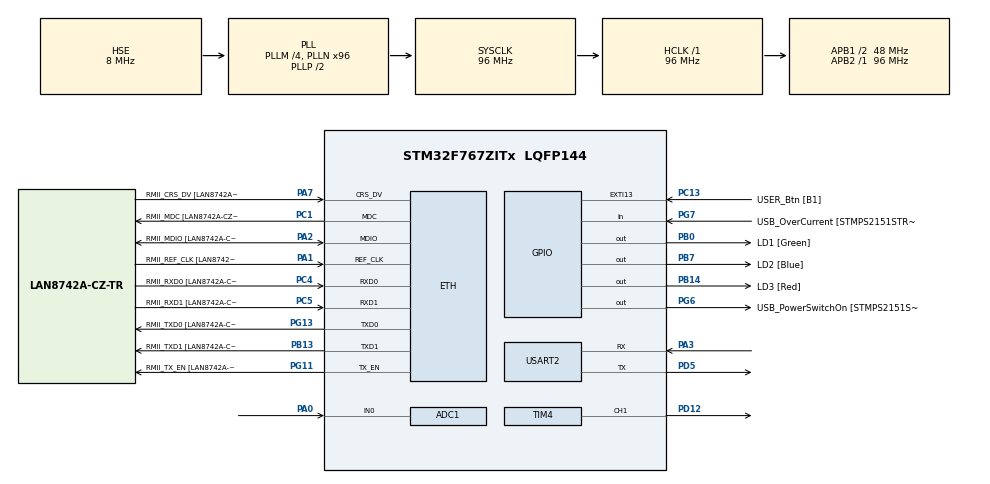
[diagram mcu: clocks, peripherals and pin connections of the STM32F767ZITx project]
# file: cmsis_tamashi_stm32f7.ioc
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ADC1.Channel-1\#ChannelRegularConversion=ADC_CHANNEL_0
ADC1.ClockPrescaler=ADC_CLOCK_SYNC_PCLK_DIV6
ADC1.DMAContinuousRequests=ENABLE
ADC1.DataAlign=ADC_DATAALIGN_LEFT
ADC1.ExternalTrigConv=ADC_EXTERNALTRIGCONV_T5_TRGO
ADC1.NbrOfConversionFlag=1
ADC1.Rank-1\#ChannelRegularConversion=1
ADC1.SamplingTime-1\#ChannelRegularConversion=ADC_SAMPLETIME_3CYCLES
ADC1.master=1
Dma.ADC1.0.Direction=DMA_PERIPH_TO_MEMORY
Dma.ADC1.0.FIFOMode=DMA_FIFOMODE_DISABLE
Dma.ADC1.0.Instance=DMA2_Stream0
Dma.ADC1.0.MemDataAlignment=DMA_MDATAALIGN_HALFWORD
Dma.ADC1.0.MemInc=DMA_MINC_ENABLE
Dma.ADC1.0.Mode=DMA_CIRCULAR
Dma.ADC1.0.PeriphDataAlignment=DMA_PDATAALIGN_HALFWORD
Dma.ADC1.0.PeriphInc=DMA_PINC_DISABLE
Dma.ADC1.0.Priority=DMA_PRIORITY_LOW
Dma.Request0=ADC1
ETH.MediaInterface=ETH_MEDIA_INTERFACE_RMII
ETH.PHY_Name=LAN8742A_PHY_ADDRESS
ETH.PHY_Value=0
ETH.PhyAddress=0
Mcu.Family=STM32F7
Mcu.Name=STM32F767ZITx
Mcu.Package=LQFP144
NVIC.DMA2_Stream0_IRQn=true\:0\:0\:false\:false\:true\:false\:true
NVIC.PriorityGroup=NVIC_PRIORITYGROUP_4
PA0/WKUP.Signal=ADCx_IN0
PA1.GPIO_Label=RMII_REF_CLK [LAN8742A-CZ-TR_REFCLK0]
PA1.Mode=RMII
PA1.Signal=ETH_REF_CLK
PA10.GPIO_Label=USB_ID
PA10.Signal=USB_OTG_FS_ID
PA11.GPIO_Label=USB_DM
PA11.Signal=USB_OTG_FS_DM
PA12.GPIO_Label=USB_DP
PA12.Signal=USB_OTG_FS_DP
PA13.GPIO_Label=TMS
PA13.Mode=Serial_Wire
PA13.Signal=SYS_JTMS-SWDIO
PA14.GPIO_Label=TCK
PA14.Mode=Serial_Wire
PA14.Signal=SYS_JTCK-SWCLK
PA2.GPIO_Label=RMII_MDIO [LAN8742A-CZ-TR_MDIO]
PA2.Mode=RMII
PA2.Signal=ETH_MDIO
PA3.Mode=Asynchronous
PA3.Signal=USART2_RX
PA7.GPIO_Label=RMII_CRS_DV [LAN8742A-CZ-TR_CRS_DV]
PA7.Mode=RMII
PA7.Signal=ETH_CRS_DV
PA8.GPIO_Label=USB_SOF [TP1]
PA8.Signal=USB_OTG_FS_SOF
PA9.GPIO_Label=USB_VBUS
PA9.Signal=USB_OTG_FS_VBUS
PB0.GPIO_Label=LD1 [Green]
PB0.Signal=GPIO_Output
PB13.GPIO_Label=RMII_TXD1 [LAN8742A-CZ-TR_TXD1]
PB13.Mode=RMII
PB13.Signal=ETH_TXD1
PB14.GPIO_Label=LD3 [Red]
PB14.Signal=GPIO_Output
PB3.GPIO_Label=SWO
PB3.Signal=SYS_JTDO-SWO
PB7.GPIO_Label=LD2 [Blue]
PB7.Signal=GPIO_Output
PC1.GPIO_Label=RMII_MDC [LAN8742A-CZ-TR_MDC]
PC1.Mode=RMII
PC1.Signal=ETH_MDC
PC13.GPIO_Label=USER_Btn [B1]
PC13.Signal=GPXTI13
PC14/OSC32_IN.Mode=LSE-External-Oscillator
PC14/OSC32_IN.Signal=RCC_OSC32_IN
PC15/OSC32_OUT.Mode=LSE-External-Oscillator
PC15/OSC32_OUT.Signal=RCC_OSC32_OUT
PC4.GPIO_Label=RMII_RXD0 [LAN8742A-CZ-TR_RXD0]
PC4.Mode=RMII
PC4.Signal=ETH_RXD0
PC5.GPIO_Label=RMII_RXD1 [LAN8742A-CZ-TR_RXD1]
PC5.Mode=RMII
PC5.Signal=ETH_RXD1
PD12.Signal=S_TIM4_CH1
PD5.Mode=Asynchronous
PD5.Signal=USART2_TX
PD8.GPIO_Label=STLK_RX [STM32F103CBT6_PA3]
PD8.Signal=USART3_TX
PD9.GPIO_Label=STLK_TX [STM32F103CBT6_PA2]
PD9.Signal=USART3_RX
PG11.GPIO_Label=RMII_TX_EN [LAN8742A-CZ-TR_TXEN]
PG11.Mode=RMII
PG11.Signal=ETH_TX_EN
PG13.GPIO_Label=RMII_TXD0 [LAN8742A-CZ-TR_TXD0]
PG13.Mode=RMII
PG13.Signal=ETH_TXD0
PG6.GPIO_Label=USB_PowerSwitchOn [STMPS2151STR_EN]
PG6.Signal=GPIO_Output
PG7.GPIO_Label=USB_OverCurrent [STMPS2151STR_FAULT]
PG7.Signal=GPIO_Input
PH0/OSC_IN.GPIO_Label=MCO [STM32F103CBT6_PA8]
PH0/OSC_IN.Mode=HSE-External-Clock-Source
PH0/OSC_IN.Signal=RCC_OSC_IN
PH1/OSC_OUT.Mode=HSE-External-Clock-Source
PH1/OSC_OUT.Signal=RCC_OSC_OUT
ProjectManager.HeapSize=0x3000
ProjectManager.StackSize=0x6000
ProjectManager.TargetToolchain=MDK-ARM V5.27
RCC.48MHZClocksFreq_Value=24000000
RCC.AHBFreq_Value=96000000
RCC.APB1CLKDivider=RCC_HCLK_DIV2
RCC.APB1Freq_Value=48000000
RCC.APB1TimFreq_Value=96000000
RCC.APB2Freq_Value=96000000
RCC.APB2TimFreq_Value=96000000
RCC.CortexFreq_Value=96000000
RCC.HCLKFreq_Value=96000000
RCC.HSE_VALUE=8000000
RCC.HSI_VALUE=16000000
RCC.PLLM=4
RCC.PLLMUL=RCC_PLL_MUL9
RCC.PLLN=96
RCC.PLLQ=4
RCC.PLLSourceVirtual=RCC_PLLSOURCE_HSE
RCC.PRESCALERUSB=RCC_USBCLKSOURCE_PLL_DIV1_5
RCC.SYSCLKFreq_VALUE=96000000
RCC.SYSCLKSource=RCC_SYSCLKSOURCE_PLLCLK
RCC.SYSCLKSourceVirtual=RCC_SYSCLKSOURCE_PLLCLK
RCC.USBFreq_Value=48000000
RCC.VCOOutputFreq_Value=192000000
SH.ADCx_IN0.0=ADC1_IN0,IN0
SH.S_TIM4_CH1.0=TIM4_CH1,PWM Generation1 CH1
TIM4.Channel-PWM\ Generation1\ CH1=TIM_CHANNEL_1
TIM4.Period=50-1
TIM4.Prescaler=960-1
TIM4.Pulse-PWM\ Generation1\ CH1=25
TIM5.Period=99
TIM5.Prescaler=239
TIM5.TIM_MasterOutputTrigger=TIM_TRGO_UPDATE
TIM5.TIM_MasterSlaveMode=TIM_MASTERSLAVEMODE_ENABLE
USART2.VirtualMode-Asynchronous=VM_ASYNC
VP_TIM4_VS_ClockSourceINT.Mode=Internal
VP_TIM5_VS_ClockSourceINT.Mode=Internal
board=NUCLEO-F767ZI

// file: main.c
/* USER CODE BEGIN Header */
/**
  ******************************************************************************
  * @file           : main.c
  * @brief          : Main program body
  ******************************************************************************
  * @attention
  *
  * <h2><center>&copy; Copyright (c) 2020 STMicroelectronics.
  * All rights reserved.</center></h2>
  *
  * This software component is licensed by ST under BSD 3-Clause license,
  * the "License"; You may not use this file except in compliance with the
  * License. You may obtain a copy of the License at:
  *                        opensource.org/licenses/BSD-3-Clause
  *
  ******************************************************************************
  */

/* USER CODE END Header */

#include "main.h"

/* USER CODE BEGIN Includes */
#include "arm_math.h"
#include "math.h"
#include "utils.h"
#define BUFFSIZE 512
/* USER CODE END Includes */

ADC_HandleTypeDef hadc1;
DMA_HandleTypeDef hdma_adc1;

ETH_HandleTypeDef heth;

TIM_HandleTypeDef htim4;
TIM_HandleTypeDef htim5;

UART_HandleTypeDef huart2;

/* USER CODE BEGIN PV */
uint16_t counter = 0;
arm_rfft_instance_q15 rfft_hanlder;
arm_rfft_fast_instance_f32 fast_32_hanlder;
uint8_t jeller = 123;
float32_t input_buffer[BUFFSIZE];
float32_t transformed_bufer[1025]; //not sure about the size yet tho
float32_t abs_vals[256];
float32_t sine_buffer[BUFFSIZE];
float32_t current_max_freq_amplitude = 0;
float32_t current_note_freq;
float32_t note_freq_hz = 0;
uint16_t max_value_bin = 0;
uint16_t adc_completed = 0x0000;
uint16_t DMA_received = 0;
uint16_t processing_in_progress = 0;
uint16_t processed = 0;
uint8_t note_freq_bin = 0;
uint8_t closest_frequency_index = 0; //this will be used to determine what note has been triggered;
uint8_t TASE = 0;
char note_name[2] = "A#";

double sampling_rate = 8000.0;
double two_pi = 6.28318530718;
double frequency = 50;
uint16_t ADC_BUFF[BUFFSIZE];

float32_t resolution = 4000.0/512; //sampling rate over buff nig size;

float32_t threshhold = 20000.0;
uint8_t current_value = 0;
uint8_t true_current_value = 0; //above threshold

/* USER CODE END PV */

void SystemClock_Config(void);
static void MX_GPIO_Init(void);
static void MX_DMA_Init(void);
static void MX_ADC1_Init(void);
static void MX_ETH_Init(void);
static void MX_TIM5_Init(void);
static void MX_TIM4_Init(void);
static void MX_USART2_UART_Init(void);

/* USER CODE BEGIN 0 */

void initialize_sine(void)
{

   int i = 0;
	 double constant_factor = 6.28318530718*frequency/sampling_rate;
   double constant_factor_two = 30*6.28318530718*frequency/sampling_rate; // 150 hz signal
	 for(i = 0; i < BUFFSIZE; i++)
   {
	     sine_buffer[i] = 1000.0*sin(constant_factor_two*i); //150hz signal
	 }

}

void copy_sine_to_input(void)
{

	int i = 0;
	for(i = 0; i < BUFFSIZE; i++)
	{
	   input_buffer[i] = (float32_t)(ADC_BUFF[i] >> 4); // ai aq vityvnebi
		 // erti aris USHORT meore SHORT HAHA GET FUCKED
		 // what ???
	}

}

uint16_t max_value_bin_find(float32_t * source, uint16_t size)
{

	  int i = 0;
	  float32_t max_float =0;
	  uint16_t max_bin = 0;
	  size = size - 1;
	  for(i=0; i < size; i++)
	  {
		   if(source[i] > max_float)
       {
				 max_float = source[i];
				 max_bin = i;
			 }
		}
   return max_bin;
}

void empty_out_buffer(float32_t * buffer, int16_t size)
{

	  int m = 0;
	  for(m=0; m < size; m++)
    {
		   buffer[m] = 0;
		}

}

uint8_t closest_frequency_index_find(float32_t frequency)
{

	uint8_t higher_val_index = 0;
	float32_t diff_lower = 0;
	float32_t diff_higher = 0;

	for(int i = 0; i < 36; i++)
  {
		if(frequency - note_frequencies[i] < 0)
    {
			higher_val_index = i;
			break;
		}

	}

	diff_lower = frequency - note_frequencies[higher_val_index - 1];
	diff_higher =  note_frequencies[higher_val_index] - frequency;  //hopefully sworad vfiqrob...

	if(diff_higher > diff_lower)
  {
		return higher_val_index - 1;
	}

	else if( diff_lower >= diff_higher)
  {
		return higher_val_index;
	}

}

int IsInScale(char * note)
{
  int i = 0;
  for(i = 0; i < 7; i++)
  {
     if(scale_notes[i][0] == note[0] && scale_notes[i][1] == note[1])
     {
       return 1;
     }

  }

  return 0;
}

/* USER CODE END 0 */

int main(void)
{

  /* MCU Configuration--------------------------------------------------------*/

  /* Reset of all peripherals, Initializes the Flash interface and the Systick. */
  HAL_Init();

  /* Configure the system clock */
  SystemClock_Config();

  /* Initialize all configured peripherals */
  MX_GPIO_Init();
  MX_DMA_Init();
  MX_ADC1_Init();
  MX_ETH_Init();
  MX_TIM5_Init();
  MX_TIM4_Init();
  MX_USART2_UART_Init();
  /* USER CODE BEGIN 2 */
	/*
	initialize_sine();
	HAL_Delay(100);
	copy_sine_to_input();
	HAL_Delay(100);
	empty_out_buffer(transformed_bufer, 512);
  */
	jeller = arm_rfft_fast_init_f32(&fast_32_hanlder, 512);
	HAL_ADC_Start_DMA(&hadc1, (uint32_t *) ADC_BUFF, BUFFSIZE);
  HAL_TIM_Base_Start(&htim5); // adc sampling clock
	//HAL_TIM_PWM_Start(&htim4, TIM_CHANNEL_1);
	//HAL_TIM_Base_Start(&htim4); //start corresponding TIMER

	jeller = 5;
	HAL_Delay(100);

  /* USER CODE END 2 */

  /* Infinite loop */
  while (1)
  {

    /* USER CODE BEGIN 3 */
    if(DMA_received == 1)
    {
			  //HAL_ADC_Stop_DMA(&hadc1); //wesit ese unda iyos magram RAVI ASWREBS TAVISUFLAD RAAAA BUSHIT
			  DMA_received = 0;

		    processing_in_progress = 1;
		    copy_sine_to_input();  //copies ADC_VAL to Input float32 buffer
        arm_rfft_fast_f32(&fast_32_hanlder, input_buffer, transformed_bufer, 0);

 	      arm_cmplx_mag_f32(transformed_bufer, abs_vals, 512);
			  for(counter = 0; counter < 2; counter++)
        {
				   abs_vals[counter] = 0; //getting rid of bias voltage
				}
	      current_value = max_value_bin_find(abs_vals, 256);
			  current_max_freq_amplitude = abs_vals[current_value];

			  if(current_max_freq_amplitude > (float32_t)14000.0)
        {
					note_freq_bin = current_value;
					note_freq_hz = note_freq_bin*resolution;
					closest_frequency_index = closest_frequency_index_find(note_freq_hz);
					note_name[0] = notes_array[closest_frequency_index][0]; ///
					note_name[1] = notes_array[closest_frequency_index][1]; ///

				}

				if(IsInScale(note_name) == 0)
        {
				    TASE = 1; //just to see value at debug
					  HAL_TIM_PWM_Start(&htim4, TIM_CHANNEL_1);
					  HAL_GPIO_WritePin(GPIOB, GPIO_PIN_0, 1);
					  HAL_Delay(300);
           	HAL_TIM_PWM_Stop(&htim4, TIM_CHANNEL_1);
					  HAL_GPIO_WritePin(GPIOB, GPIO_PIN_0, 0);
					  note_name[0] = 'A'; //any note from scale will do, it is to stop transformer
					  note_name[1] = '#';
					  TASE = 0;

				}

		}

  }
  /* USER CODE END 3 */
}

void SystemClock_Config(void)
{
  RCC_OscInitTypeDef RCC_OscInitStruct = {0};
  RCC_ClkInitTypeDef RCC_ClkInitStruct = {0};
  RCC_PeriphCLKInitTypeDef PeriphClkInitStruct = {0};

  /** Configure LSE Drive Capability
  */
  HAL_PWR_EnableBkUpAccess();
  /** Configure the main internal regulator output voltage
  */
  __HAL_RCC_PWR_CLK_ENABLE();
  __HAL_PWR_VOLTAGESCALING_CONFIG(PWR_REGULATOR_VOLTAGE_SCALE3);
  /** Initializes the CPU, AHB and APB busses clocks
  */
  RCC_OscInitStruct.OscillatorType = RCC_OSCILLATORTYPE_HSE;
  RCC_OscInitStruct.HSEState = RCC_HSE_BYPASS;
  RCC_OscInitStruct.PLL.PLLState = RCC_PLL_ON;
  RCC_OscInitStruct.PLL.PLLSource = RCC_PLLSOURCE_HSE;
  RCC_OscInitStruct.PLL.PLLM = 4;
  RCC_OscInitStruct.PLL.PLLN = 96;
  RCC_OscInitStruct.PLL.PLLP = RCC_PLLP_DIV2;
  RCC_OscInitStruct.PLL.PLLQ = 4;
  if (HAL_RCC_OscConfig(&RCC_OscInitStruct) != HAL_OK)
  {
    Error_Handler();
  }
  /** Activate the Over-Drive mode
  */
  if (HAL_PWREx_EnableOverDrive() != HAL_OK)
  {
    Error_Handler();
  }
  /** Initializes the CPU, AHB and APB busses clocks
  */
  RCC_ClkInitStruct.ClockType = RCC_CLOCKTYPE_HCLK|RCC_CLOCKTYPE_SYSCLK
                              |RCC_CLOCKTYPE_PCLK1|RCC_CLOCKTYPE_PCLK2;
  RCC_ClkInitStruct.SYSCLKSource = RCC_SYSCLKSOURCE_PLLCLK;
  RCC_ClkInitStruct.AHBCLKDivider = RCC_SYSCLK_DIV1;
  RCC_ClkInitStruct.APB1CLKDivider = RCC_HCLK_DIV2;
  RCC_ClkInitStruct.APB2CLKDivider = RCC_HCLK_DIV1;

  if (HAL_RCC_ClockConfig(&RCC_ClkInitStruct, FLASH_LATENCY_3) != HAL_OK)
  {
    Error_Handler();
  }
  PeriphClkInitStruct.PeriphClockSelection = RCC_PERIPHCLK_USART2;
  PeriphClkInitStruct.Usart2ClockSelection = RCC_USART2CLKSOURCE_PCLK1;
  if (HAL_RCCEx_PeriphCLKConfig(&PeriphClkInitStruct) != HAL_OK)
  {
    Error_Handler();
  }
}

static void MX_ADC1_Init(void)
{

  ADC_ChannelConfTypeDef sConfig = {0};

  /** Configure the global features of the ADC (Clock, Resolution, Data Alignment and number of conversion)
  */
  hadc1.Instance = ADC1;
  hadc1.Init.ClockPrescaler = ADC_CLOCK_SYNC_PCLK_DIV6;
  hadc1.Init.Resolution = ADC_RESOLUTION_12B;
  hadc1.Init.ScanConvMode = ADC_SCAN_DISABLE;
  hadc1.Init.ContinuousConvMode = DISABLE;
  hadc1.Init.DiscontinuousConvMode = DISABLE;
  hadc1.Init.ExternalTrigConvEdge = ADC_EXTERNALTRIGCONVEDGE_RISING;
  hadc1.Init.ExternalTrigConv = ADC_EXTERNALTRIGCONV_T5_TRGO;
  hadc1.Init.DataAlign = ADC_DATAALIGN_LEFT;
  hadc1.Init.NbrOfConversion = 1;
  hadc1.Init.DMAContinuousRequests = ENABLE;
  hadc1.Init.EOCSelection = ADC_EOC_SINGLE_CONV;
  if (HAL_ADC_Init(&hadc1) != HAL_OK)
  {
    Error_Handler();
  }
  /** Configure for the selected ADC regular channel its corresponding rank in the sequencer and its sample time.
  */
  sConfig.Channel = ADC_CHANNEL_0;
  sConfig.Rank = ADC_REGULAR_RANK_1;
  sConfig.SamplingTime = ADC_SAMPLETIME_3CYCLES;
  if (HAL_ADC_ConfigChannel(&hadc1, &sConfig) != HAL_OK)
  {
    Error_Handler();
  }

}

static void MX_ETH_Init(void)
{

  heth.Instance = ETH;
  heth.Init.AutoNegotiation = ETH_AUTONEGOTIATION_ENABLE;
  heth.Init.PhyAddress = LAN8742A_PHY_ADDRESS;
  heth.Init.MACAddr[0] =   0x00;
  heth.Init.MACAddr[1] =   0x80;
  heth.Init.MACAddr[2] =   0xE1;
  heth.Init.MACAddr[3] =   0x00;
  heth.Init.MACAddr[4] =   0x00;
  heth.Init.MACAddr[5] =   0x00;
  heth.Init.RxMode = ETH_RXPOLLING_MODE;
  heth.Init.ChecksumMode = ETH_CHECKSUM_BY_HARDWARE;
  heth.Init.MediaInterface = ETH_MEDIA_INTERFACE_RMII;

  if (HAL_ETH_Init(&heth) != HAL_OK)
  {
    Error_Handler();
  }

}

static void MX_TIM4_Init(void)
{

  TIM_ClockConfigTypeDef sClockSourceConfig = {0};
  TIM_MasterConfigTypeDef sMasterConfig = {0};
  TIM_OC_InitTypeDef sConfigOC = {0};

  htim4.Instance = TIM4;
  htim4.Init.Prescaler = 6-1;
  htim4.Init.CounterMode = TIM_COUNTERMODE_UP;
  htim4.Init.Period = 2048-1;
  htim4.Init.ClockDivision = TIM_CLOCKDIVISION_DIV1;
  htim4.Init.AutoReloadPreload = TIM_AUTORELOAD_PRELOAD_DISABLE;
  if (HAL_TIM_Base_Init(&htim4) != HAL_OK)
  {
    Error_Handler();
  }
  sClockSourceConfig.ClockSource = TIM_CLOCKSOURCE_INTERNAL;
  if (HAL_TIM_ConfigClockSource(&htim4, &sClockSourceConfig) != HAL_OK)
  {
    Error_Handler();
  }
  if (HAL_TIM_PWM_Init(&htim4) != HAL_OK)
  {
    Error_Handler();
  }
  sMasterConfig.MasterOutputTrigger = TIM_TRGO_RESET;
  sMasterConfig.MasterSlaveMode = TIM_MASTERSLAVEMODE_DISABLE;
  if (HAL_TIMEx_MasterConfigSynchronization(&htim4, &sMasterConfig) != HAL_OK)
  {
    Error_Handler();
  }
  sConfigOC.OCMode = TIM_OCMODE_PWM1;
  sConfigOC.Pulse = 1025;
  sConfigOC.OCPolarity = TIM_OCPOLARITY_HIGH;
  sConfigOC.OCFastMode = TIM_OCFAST_DISABLE;
  if (HAL_TIM_PWM_ConfigChannel(&htim4, &sConfigOC, TIM_CHANNEL_1) != HAL_OK)
  {
    Error_Handler();
  }
  HAL_TIM_MspPostInit(&htim4);

}

static void MX_TIM5_Init(void)
{

  TIM_ClockConfigTypeDef sClockSourceConfig = {0};
  TIM_MasterConfigTypeDef sMasterConfig = {0};

  htim5.Instance = TIM5;
  htim5.Init.Prescaler = 239;
  htim5.Init.CounterMode = TIM_COUNTERMODE_UP;
  htim5.Init.Period = 99;
  htim5.Init.ClockDivision = TIM_CLOCKDIVISION_DIV1;
  htim5.Init.AutoReloadPreload = TIM_AUTORELOAD_PRELOAD_DISABLE;
  if (HAL_TIM_Base_Init(&htim5) != HAL_OK)
  {
    Error_Handler();
  }
  sClockSourceConfig.ClockSource = TIM_CLOCKSOURCE_INTERNAL;
  if (HAL_TIM_ConfigClockSource(&htim5, &sClockSourceConfig) != HAL_OK)
  {
    Error_Handler();
  }
  sMasterConfig.MasterOutputTrigger = TIM_TRGO_UPDATE;
  sMasterConfig.MasterSlaveMode = TIM_MASTERSLAVEMODE_ENABLE;
  if (HAL_TIMEx_MasterConfigSynchronization(&htim5, &sMasterConfig) != HAL_OK)
  {
    Error_Handler();
  }

}

static void MX_USART2_UART_Init(void)
{

  huart2.Instance = USART2;
  huart2.Init.BaudRate = 115200;
  huart2.Init.WordLength = UART_WORDLENGTH_8B;
  huart2.Init.StopBits = UART_STOPBITS_1;
  huart2.Init.Parity = UART_PARITY_NONE;
  huart2.Init.Mode = UART_MODE_TX_RX;
  huart2.Init.HwFlowCtl = UART_HWCONTROL_NONE;
  huart2.Init.OverSampling = UART_OVERSAMPLING_16;
  huart2.Init.OneBitSampling = UART_ONE_BIT_SAMPLE_DISABLE;
  huart2.AdvancedInit.AdvFeatureInit = UART_ADVFEATURE_NO_INIT;
  if (HAL_UART_Init(&huart2) != HAL_OK)
  {
    Error_Handler();
  }

}

static void MX_DMA_Init(void)
{

  /* DMA controller clock enable */
  __HAL_RCC_DMA2_CLK_ENABLE();

  /* DMA interrupt init */
  /* DMA2_Stream0_IRQn interrupt configuration */
  HAL_NVIC_SetPriority(DMA2_Stream0_IRQn, 0, 0);
  HAL_NVIC_EnableIRQ(DMA2_Stream0_IRQn);

}

static void MX_GPIO_Init(void)
{
  GPIO_InitTypeDef GPIO_InitStruct = {0};

  /* GPIO Ports Clock Enable */
  __HAL_RCC_GPIOC_CLK_ENABLE();
  __HAL_RCC_GPIOH_CLK_ENABLE();
  __HAL_RCC_GPIOA_CLK_ENABLE();
  __HAL_RCC_GPIOB_CLK_ENABLE();
  __HAL_RCC_GPIOD_CLK_ENABLE();
  __HAL_RCC_GPIOG_CLK_ENABLE();

  /*Configure GPIO pin Output Level */
  HAL_GPIO_WritePin(GPIOB, LD1_Pin|LD3_Pin|LD2_Pin, GPIO_PIN_RESET);

  /*Configure GPIO pin Output Level */
  HAL_GPIO_WritePin(USB_PowerSwitchOn_GPIO_Port, USB_PowerSwitchOn_Pin, GPIO_PIN_RESET);

  /*Configure GPIO pin : USER_Btn_Pin */
  GPIO_InitStruct.Pin = USER_Btn_Pin;
  GPIO_InitStruct.Mode = GPIO_MODE_IT_RISING;
  GPIO_InitStruct.Pull = GPIO_NOPULL;
  HAL_GPIO_Init(USER_Btn_GPIO_Port, &GPIO_InitStruct);

  /*Configure GPIO pins : LD1_Pin LD3_Pin LD2_Pin */
  GPIO_InitStruct.Pin = LD1_Pin|LD3_Pin|LD2_Pin;
  GPIO_InitStruct.Mode = GPIO_MODE_OUTPUT_PP;
  GPIO_InitStruct.Pull = GPIO_NOPULL;
  GPIO_InitStruct.Speed = GPIO_SPEED_FREQ_LOW;
  HAL_GPIO_Init(GPIOB, &GPIO_InitStruct);

  /*Configure GPIO pins : STLK_RX_Pin STLK_TX_Pin */
  GPIO_InitStruct.Pin = STLK_RX_Pin|STLK_TX_Pin;
  GPIO_InitStruct.Mode = GPIO_MODE_AF_PP;
  GPIO_InitStruct.Pull = GPIO_NOPULL;
  GPIO_InitStruct.Speed = GPIO_SPEED_FREQ_VERY_HIGH;
  GPIO_InitStruct.Alternate = GPIO_AF7_USART3;
  HAL_GPIO_Init(GPIOD, &GPIO_InitStruct);

  /*Configure GPIO pin : USB_PowerSwitchOn_Pin */
  GPIO_InitStruct.Pin = USB_PowerSwitchOn_Pin;
  GPIO_InitStruct.Mode = GPIO_MODE_OUTPUT_PP;
  GPIO_InitStruct.Pull = GPIO_NOPULL;
  GPIO_InitStruct.Speed = GPIO_SPEED_FREQ_LOW;
  HAL_GPIO_Init(USB_PowerSwitchOn_GPIO_Port, &GPIO_InitStruct);

  /*Configure GPIO pin : USB_OverCurrent_Pin */
  GPIO_InitStruct.Pin = USB_OverCurrent_Pin;
  GPIO_InitStruct.Mode = GPIO_MODE_INPUT;
  GPIO_InitStruct.Pull = GPIO_NOPULL;
  HAL_GPIO_Init(USB_OverCurrent_GPIO_Port, &GPIO_InitStruct);

  /*Configure GPIO pins : USB_SOF_Pin USB_ID_Pin USB_DM_Pin USB_DP_Pin */
  GPIO_InitStruct.Pin = USB_SOF_Pin|USB_ID_Pin|USB_DM_Pin|USB_DP_Pin;
  GPIO_InitStruct.Mode = GPIO_MODE_AF_PP;
  GPIO_InitStruct.Pull = GPIO_NOPULL;
  GPIO_InitStruct.Speed = GPIO_SPEED_FREQ_VERY_HIGH;
  GPIO_InitStruct.Alternate = GPIO_AF10_OTG_FS;
  HAL_GPIO_Init(GPIOA, &GPIO_InitStruct);

  /*Configure GPIO pin : USB_VBUS_Pin */
  GPIO_InitStruct.Pin = USB_VBUS_Pin;
  GPIO_InitStruct.Mode = GPIO_MODE_INPUT;
  GPIO_InitStruct.Pull = GPIO_NOPULL;
  HAL_GPIO_Init(USB_VBUS_GPIO_Port, &GPIO_InitStruct);

}

/* USER CODE BEGIN 4 */
void HAL_ADC_ConvCpltCallback(ADC_HandleTypeDef *hadc)
{
    DMA_received = 1;
}
/* USER CODE END 4 */

void Error_Handler(void)
{
}

/************************ (C) COPYRIGHT STMicroelectronics *****END OF FILE****/
